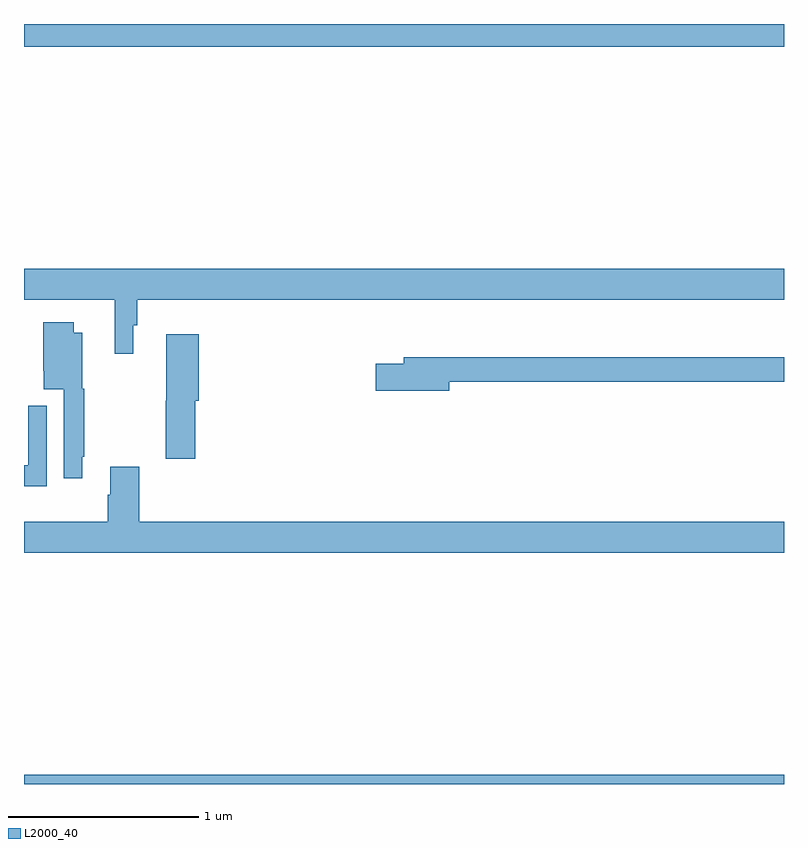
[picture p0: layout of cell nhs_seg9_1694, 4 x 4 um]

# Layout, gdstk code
import gdstk
lib = gdstk.Library(unit=1e-6, precision=1e-09)
def R(c, l, rs):  # rectangles x0, y0, x1, y1
    for r in rs: c.add(gdstk.rectangle(r[:2], r[2:], *l))
def P(c, l, *ps):  # polygons
    for p in ps: c.add(gdstk.Polygon(p, *l))
L2000_40 = (2000, 40)

nhs_seg9_1694 = lib.new_cell('nhs_seg9_1694')
R(nhs_seg9_1694, L2000_40, [(205,1232.5,209,1232.548), (205,1236.38,209,1236.5)])
P(nhs_seg9_1694, L2000_40, [(205.576,1234.914),(205.595,1234.914),(205.595,1235.048),(209,1235.048),(209,1235.212),(205,1235.212),(205,1235.048),(205.478,1235.048),(205.478,1234.764),(205.576,1234.764)],
  [(205.306,1234.222),(205.318,1234.222),(205.318,1234.581),(205.306,1234.581),(205.306,1234.876),(205.261,1234.876),(205.261,1234.93),(205.1,1234.93),(205.1,1234.674),(205.103,1234.674),(205.103,1234.577),(205.209,1234.577),(205.209,1234.11),(205.306,1234.11)],
  [(205.901,1234.518),(205.919,1234.518),(205.919,1234.867),(205.748,1234.867),(205.748,1234.518),(205.747,1234.518),(205.747,1234.212),(205.901,1234.212)],
  [(207.238,1234.618),(209,1234.618),(209,1234.747),(206.999,1234.747),(206.999,1234.713),(206.85,1234.713),(206.85,1234.571),(207.238,1234.571)],
  [(205.119,1234.492),(205.022,1234.492),(205.022,1234.177),(205,1234.177),(205,1234.068),(205.119,1234.068)],
  [(209,1233.88),(205.607,1233.88),(205.607,1234.171),(205.454,1234.171),(205.454,1234.022),(205.442,1234.022),(205.442,1233.88),(205,1233.88),(205,1233.716),(209,1233.716)])

lib.write_gds('nhs_seg9_1694.gds')
